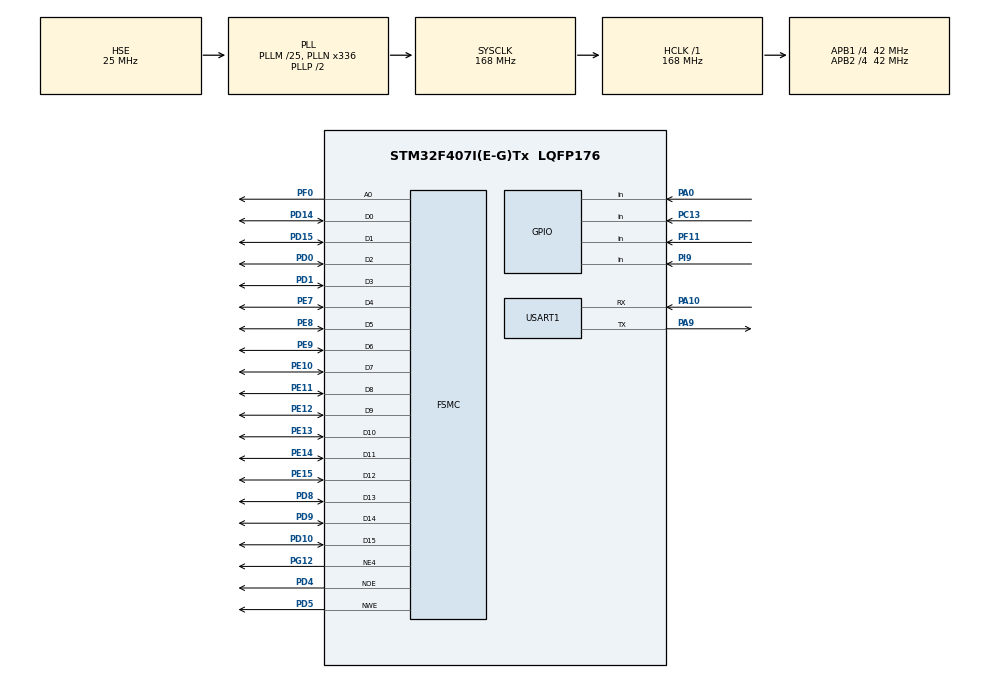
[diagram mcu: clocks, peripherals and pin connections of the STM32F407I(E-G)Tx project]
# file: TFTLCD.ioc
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Mcu.Family=STM32F4
Mcu.Name=STM32F407I(E-G)Tx
Mcu.Package=LQFP176
NVIC.PriorityGroup=NVIC_PRIORITYGROUP_4
NVIC.USART1_IRQn=true\:0\:0\:false\:false\:true
PA0-WKUP.Signal=GPIO_Input
PA10.Mode=Asynchronous
PA10.Signal=USART1_RX
PA9.Mode=Asynchronous
PA9.Signal=USART1_TX
PC13-ANTI_TAMP.Signal=GPIO_Input
PD0.Signal=FSMC_D2_DA2
PD1.Signal=FSMC_D3_DA3
PD10.Signal=FSMC_D15_DA15
PD14.Signal=FSMC_D0_DA0
PD15.Signal=FSMC_D1_DA1
PD4.Signal=FSMC_NOE
PD5.Signal=FSMC_NWE
PD8.Signal=FSMC_D13_DA13
PD9.Signal=FSMC_D14_DA14
PE10.Signal=FSMC_D7_DA7
PE11.Signal=FSMC_D8_DA8
PE12.Signal=FSMC_D9_DA9
PE13.Signal=FSMC_D10_DA10
PE14.Signal=FSMC_D11_DA11
PE15.Signal=FSMC_D12_DA12
PE7.Signal=FSMC_D4_DA4
PE8.Signal=FSMC_D5_DA5
PE9.Signal=FSMC_D6_DA6
PF0.Signal=FSMC_A0
PF11.Signal=GPIO_Input
PG12.Mode=NorPsramChipSelect4_1
PG12.Signal=FSMC_NE4
PH0-OSC_IN.Mode=HSE-External-Oscillator
PH0-OSC_IN.Signal=RCC_OSC_IN
PH1-OSC_OUT.Mode=HSE-External-Oscillator
PH1-OSC_OUT.Signal=RCC_OSC_OUT
PI9.Signal=GPIO_Input
ProjectManager.HeapSize=0x200
ProjectManager.StackSize=0x400
ProjectManager.TargetToolchain=MDK-ARM V5
RCC.48MHZClocksFreq_Value=84000000
RCC.AHBFreq_Value=168000000
RCC.APB1CLKDivider=RCC_HCLK_DIV4
RCC.APB1Freq_Value=42000000
RCC.APB1TimFreq_Value=84000000
RCC.APB2CLKDivider=RCC_HCLK_DIV4
RCC.APB2Freq_Value=42000000
RCC.APB2TimFreq_Value=84000000
RCC.CortexFreq_Value=168000000
RCC.HCLKFreq_Value=168000000
RCC.HSE_VALUE=25000000
RCC.HSI_VALUE=16000000
RCC.LSE_VALUE=32768
RCC.PLLM=25
RCC.PLLN=336
RCC.PLLSourceVirtual=RCC_PLLSOURCE_HSE
RCC.SYSCLKFreq_VALUE=168000000
RCC.SYSCLKSource=RCC_SYSCLKSOURCE_PLLCLK
RCC.VCOOutputFreq_Value=336000000
SH.FSMC_A0.0=FSMC_A0,A0_1
SH.FSMC_D0_DA0.0=FSMC_D0,16b-d1
SH.FSMC_D10_DA10.0=FSMC_D10,16b-d1
SH.FSMC_D11_DA11.0=FSMC_D11,16b-d1
SH.FSMC_D12_DA12.0=FSMC_D12,16b-d1
SH.FSMC_D13_DA13.0=FSMC_D13,16b-d1
SH.FSMC_D14_DA14.0=FSMC_D14,16b-d1
SH.FSMC_D15_DA15.0=FSMC_D15,16b-d1
SH.FSMC_D1_DA1.0=FSMC_D1,16b-d1
SH.FSMC_D2_DA2.0=FSMC_D2,16b-d1
SH.FSMC_D3_DA3.0=FSMC_D3,16b-d1
SH.FSMC_D4_DA4.0=FSMC_D4,16b-d1
SH.FSMC_D5_DA5.0=FSMC_D5,16b-d1
SH.FSMC_D6_DA6.0=FSMC_D6,16b-d1
SH.FSMC_D7_DA7.0=FSMC_D7,16b-d1
SH.FSMC_D8_DA8.0=FSMC_D8,16b-d1
SH.FSMC_D9_DA9.0=FSMC_D9,16b-d1
SH.FSMC_NOE.0=FSMC_NOE,Lcd1
SH.FSMC_NWE.0=FSMC_NWE,Lcd1
USART1.VirtualMode=VM_ASYNC
board=TFTLCD

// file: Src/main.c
/**
  ******************************************************************************
  * File Name          : main.c
  * Description        : Main program body
  ******************************************************************************
  *
  * COPYRIGHT(c) 2023 STMicroelectronics
  *
  * Redistribution and use in source and binary forms, with or without modification,
  * are permitted provided that the following conditions are met:
  *   1. Redistributions of source code must retain the above copyright notice,
  *      this list of conditions and the following disclaimer.
  *   2. Redistributions in binary form must reproduce the above copyright notice,
  *      this list of conditions and the following disclaimer in the documentation
  *      and/or other materials provided with the distribution.
  *   3. Neither the name of STMicroelectronics nor the names of its contributors
  *      may be used to endorse or promote products derived from this software
  *      without specific prior written permission.
  *
  * THIS SOFTWARE IS PROVIDED BY THE COPYRIGHT HOLDERS AND CONTRIBUTORS "AS IS"
  * AND ANY EXPRESS OR IMPLIED WARRANTIES, INCLUDING, BUT NOT LIMITED TO, THE
  * IMPLIED WARRANTIES OF MERCHANTABILITY AND FITNESS FOR A PARTICULAR PURPOSE ARE
  * DISCLAIMED. IN NO EVENT SHALL THE COPYRIGHT HOLDER OR CONTRIBUTORS BE LIABLE
  * FOR ANY DIRECT, INDIRECT, INCIDENTAL, SPECIAL, EXEMPLARY, OR CONSEQUENTIAL
  * DAMAGES (INCLUDING, BUT NOT LIMITED TO, PROCUREMENT OF SUBSTITUTE GOODS OR
  * SERVICES; LOSS OF USE, DATA, OR PROFITS; OR BUSINESS INTERRUPTION) HOWEVER
  * CAUSED AND ON ANY THEORY OF LIABILITY, WHETHER IN CONTRACT, STRICT LIABILITY,
  * OR TORT (INCLUDING NEGLIGENCE OR OTHERWISE) ARISING IN ANY WAY OUT OF THE USE
  * OF THIS SOFTWARE, EVEN IF ADVISED OF THE POSSIBILITY OF SUCH DAMAGE.
  *
  ******************************************************************************
  */
#include "main.h"
#include "stm32f4xx_hal.h"
#include "usart.h"
#include "fsmc.h"

/* USER CODE BEGIN Includes */
#include "start_game.h"
/* USER CODE END Includes */

/* USER CODE BEGIN PV */
/* Private variables ---------------------------------------------------------*/
uint8_t Buff[10];
uint8_t String[10];
uint8_t Key;
uint8_t Mode;
extern uint8_t gImage_fg[];
extern uint8_t gImage_bk[];
/* USER CODE END PV */

void SystemClock_Config(void);
void Error_Handler(void);

/* USER CODE BEGIN PFP */
/* Private function prototypes -----------------------------------------------*/

/* USER CODE END PFP */

int main(void)
{

  /* MCU Configuration----------------------------------------------------------*/

  /* Reset of all peripherals, Initializes the Flash interface and the Systick. */
  HAL_Init();

  /* Configure the system clock */
  SystemClock_Config();

  /* Initialize all configured peripherals */

  MX_GPIO_Init();
  MX_FSMC_Init();
  MX_USART1_UART_Init();

  /* USER CODE BEGIN 2 */
	// Mode = 1;
	start:
	lcd_init(); // 初始化加载LCD
	initialize(); // 展示游戏首页
	user_selection(&snake); // 获取用户响应

	// LCD_ShowString(180, 18, "开发板实验", Black, White);  	/* 显示字符串 */
	// LCD_ShowChar(220,20,'p',16,Blue,White);

	//LCD_Fill(10, 40, 100, 100, Blue);						   	/* 红色填充   */
	//LCD_Fill(30, 60, 120, 120, White);
	// LCD_ShowString(40, 80, "游戏", Blue, White);

  // Draw_Circle(180, 120, 30, Blue);							/*  画园     */
  // LCD_DrawRectangle(180, 90, 338, 180, Green);				/*  画矩形,向右下角伸展   */
	// 平行四边形
	//LCD_DrawLine(151, 60, 309, 60, Red); // 顶边
	//LCD_DrawLine(180, 90, 151, 60, Red); // 左边
	//LCD_DrawLine(180, 90, 338, 90, Red); // 底边
	//LCD_DrawLine(338, 90, 309, 60, Red); // 右边

	//LCD_DrawLine(151, 60, 151, 150, Blue);
	//LCD_DrawLine(180, 180, 151, 150, Blue);

	//LCD_DrawPicture(240,136,400,245, gImage_fg);	/*（240，136）和（400,245）为图片的对角坐标，宽度为400-240，高度为（245-136）*/
  /* USER CODE END 2 */

  /* Infinite loop */
  /* USER CODE BEGIN WHILE */
  while (snake.alive)
  {
  /* USER CODE END WHILE */

  /* USER CODE BEGIN 3 */
		startgame(&snake, &food);
		// HAL_UART_Receive_IT(&huart1, Buff, 10);//中断方式接收，中断回调函数里发送Buff
		// LCD_ShowString(190, 130, Buff, Red, White);
		// LCD_ShowString(200, 200, Buff, Blue, White);
  }
	goto start;
  /* USER CODE END 3 */
}

/** System Clock Configuration
*/
void SystemClock_Config(void)
{

  RCC_OscInitTypeDef RCC_OscInitStruct;
  RCC_ClkInitTypeDef RCC_ClkInitStruct;

    /**Configure the main internal regulator output voltage
    */
  __HAL_RCC_PWR_CLK_ENABLE();

  __HAL_PWR_VOLTAGESCALING_CONFIG(PWR_REGULATOR_VOLTAGE_SCALE1);

    /**Initializes the CPU, AHB and APB busses clocks
    */
  RCC_OscInitStruct.OscillatorType = RCC_OSCILLATORTYPE_HSE;
  RCC_OscInitStruct.HSEState = RCC_HSE_ON;
  RCC_OscInitStruct.PLL.PLLState = RCC_PLL_ON;
  RCC_OscInitStruct.PLL.PLLSource = RCC_PLLSOURCE_HSE;
  RCC_OscInitStruct.PLL.PLLM = 25;
  RCC_OscInitStruct.PLL.PLLN = 336;
  RCC_OscInitStruct.PLL.PLLP = RCC_PLLP_DIV2;
  RCC_OscInitStruct.PLL.PLLQ = 4;
  if (HAL_RCC_OscConfig(&RCC_OscInitStruct) != HAL_OK)
  {
    Error_Handler();
  }

    /**Initializes the CPU, AHB and APB busses clocks
    */
  RCC_ClkInitStruct.ClockType = RCC_CLOCKTYPE_HCLK|RCC_CLOCKTYPE_SYSCLK
                              |RCC_CLOCKTYPE_PCLK1|RCC_CLOCKTYPE_PCLK2;
  RCC_ClkInitStruct.SYSCLKSource = RCC_SYSCLKSOURCE_PLLCLK;
  RCC_ClkInitStruct.AHBCLKDivider = RCC_SYSCLK_DIV1;
  RCC_ClkInitStruct.APB1CLKDivider = RCC_HCLK_DIV4;
  RCC_ClkInitStruct.APB2CLKDivider = RCC_HCLK_DIV4;

  if (HAL_RCC_ClockConfig(&RCC_ClkInitStruct, FLASH_LATENCY_5) != HAL_OK)
  {
    Error_Handler();
  }

    /**Configure the Systick interrupt time
    */
  HAL_SYSTICK_Config(HAL_RCC_GetHCLKFreq()/1000);

    /**Configure the Systick
    */
  HAL_SYSTICK_CLKSourceConfig(SYSTICK_CLKSOURCE_HCLK);

  /* SysTick_IRQn interrupt configuration */
  HAL_NVIC_SetPriority(SysTick_IRQn, 0, 0);
}

/* USER CODE BEGIN 4 */
//用户中断接收回调函数如下
void HAL_UART_RxCpltCallback(UART_HandleTypeDef *huart)
{
	HAL_UART_Transmit(&huart1, Buff, 10,100);
}
/*       */
int fputc(int ch, FILE *f)
{
  uint8_t tmp[1]={0};
	tmp[0] = (uint8_t)ch;
	HAL_UART_Transmit(&huart1,tmp,1,10);
	return ch;
}
/* USER CODE END 4 */

void Error_Handler(void)
{
  while(1)
  {
  }
}

/************************ (C) COPYRIGHT STMicroelectronics *****END OF FILE****/
